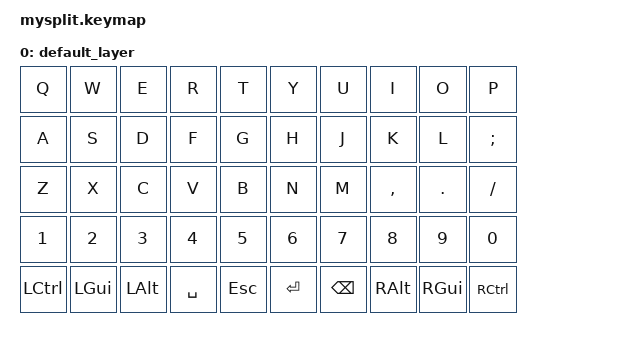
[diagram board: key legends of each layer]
#include <behaviors.dtsi>
#include <dt-bindings/zmk/keys.h>

/ {
    keymap {
        compatible = "zmk,keymap";
        default_layer {
            bindings = <
                &kp Q &kp W &kp E &kp R &kp T    &kp Y &kp U &kp I &kp O &kp P
                &kp A &kp S &kp D &kp F &kp G    &kp H &kp J &kp K &kp L &kp SEMI
                &kp Z &kp X &kp C &kp V &kp B    &kp N &kp M &kp COMMA &kp DOT &kp FSLH
                &kp N1 &kp N2 &kp N3 &kp N4 &kp N5 &kp N6 &kp N7 &kp N8 &kp N9 &kp N0
                &kp LCTRL &kp LGUI &kp LALT &kp SPACE &kp ESC &kp RET &kp BSPC &kp RALT &kp RGUI &kp RCTRL
            >;
        };
    };
};
